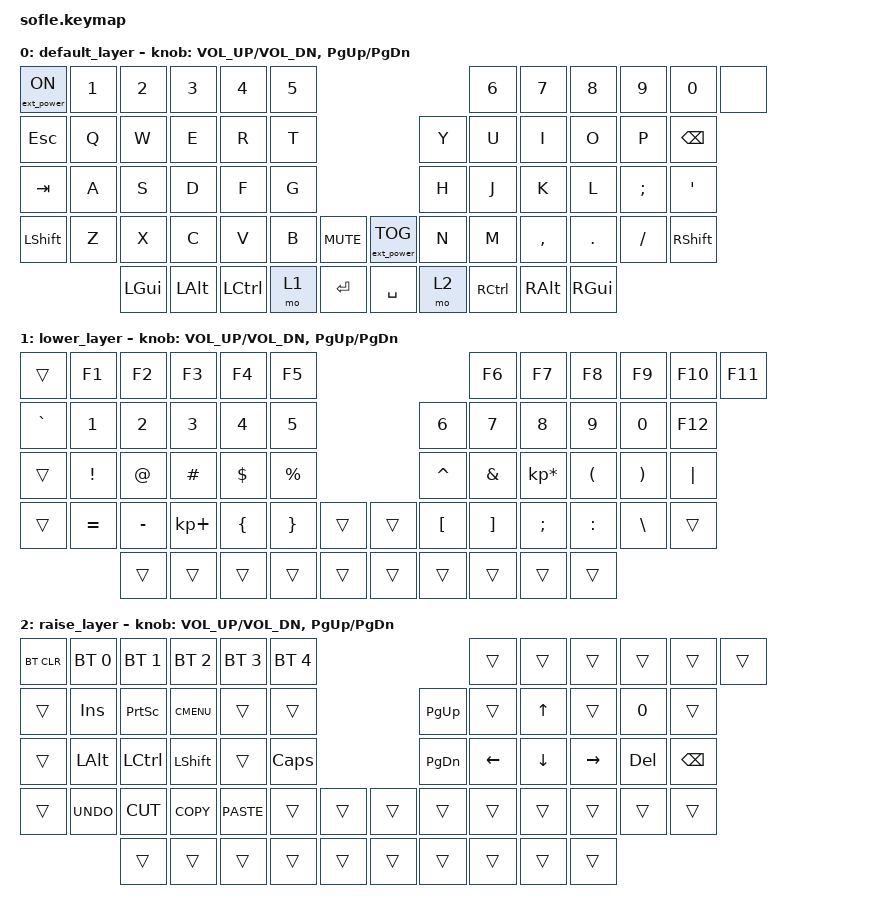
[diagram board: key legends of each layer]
/*
 * Copyright (c) 2020 The ZMK Contributors
 *
 * SPDX-License-Identifier: MIT
 */

#include <behaviors.dtsi>
#include <dt-bindings/zmk/keys.h>
#include <dt-bindings/zmk/bt.h>
#include <dt-bindings/zmk/ext_power.h>

/ {
    keymap {
        compatible = "zmk,keymap";

        default_layer {
// ------------------------------------------------------------------------------------------------------------
// |  `    |  1  |  2  |  3   |  4   |  5   |                         |  6   |  7    |  8    |  9   |   0   |       |
// |  ESC  |  Q  |  W  |  E   |  R   |  T   |                         |  Y   |  U    |  I    |  O   |   P   | BKSPC |
// |  TAB  |  A  |  S  |  D   |  F   |  G   |                         |  H   |  J    |  K    |  L   |   ;   |   '   |
// | SHIFT |  Z  |  X  |  C   |  V   |  B   |  MUTE  |        | ExtPw |  N   |  M    |  ,    |  .   |   /   | SHIFT |
//               | GUI | ALT  | CTRL | LOWER|  ENTER |        | SPACE | RAISE| CTRL  | ALT   | GUI  |
            bindings = <
&ext_power EP_ON &kp N1 &kp N2   &kp N3   &kp N4    &kp N5                              &kp N6 &kp N7    &kp N8    &kp N9   &kp N0   &none
&kp ESC   &kp Q  &kp W    &kp E    &kp R     &kp T                               &kp Y  &kp U     &kp I     &kp O    &kp P    &kp BSPC
&kp TAB   &kp A  &kp S    &kp D    &kp F     &kp G                               &kp H  &kp J     &kp K     &kp L    &kp SEMI &kp SQT
&kp LSHFT &kp Z  &kp X    &kp C    &kp V     &kp B  &kp C_MUTE &ext_power EP_TOG &kp N  &kp M     &kp COMMA &kp DOT  &kp FSLH &kp RSHFT
                 &kp LGUI &kp LALT &kp LCTRL &mo 1  &kp RET    &kp SPACE         &mo 2  &kp RCTRL &kp RALT  &kp RGUI
            >;

            sensor-bindings = <&inc_dec_kp C_VOL_UP C_VOL_DN &inc_dec_kp PG_UP PG_DN>;
        };

        lower_layer {
// TODO: Some binds are waiting for shifted keycode support.
// ------------------------------------------------------------------------------------------------------------
// |       |  F1 |  F2 |  F3  |  F4  |  F5  |                   |  F6  |  F7   |  F8   |  F9  |  F10  |  F11  |
// | `     |   1 |   2 |   3  |   4  |   5  |                   |   6  |   7   |   8   |   9  |    0  |  F12  |
// |       |  !  |  @  |  #   |  $   |  %   |                   |  ^   |  &    |  *    |  (   |   )   |   |   |
// |       |  =  |  -  |  +   |  {   |  }   |        |  |       |  [   |  ]    |  ;    |  :   |   \   |       |
//               |     |      |      |      |        |  |       |      |       |       |      |
            bindings = <
&trans    &kp F1    &kp F2    &kp F3      &kp F4    &kp F5                    &kp F6    &kp F7   &kp F8          &kp F9    &kp F10   &kp F11
&kp GRAVE &kp N1    &kp N2    &kp N3      &kp N4    &kp N5                    &kp N6    &kp N7   &kp N8          &kp N9    &kp N0    &kp F12
&trans    &kp EXCL  &kp AT    &kp HASH    &kp DLLR  &kp PRCNT                 &kp CARET &kp AMPS &kp KP_MULTIPLY &kp LPAR  &kp RPAR  &kp PIPE
&trans    &kp EQUAL &kp MINUS &kp KP_PLUS &kp LBRC  &kp RBRC  &trans   &trans &kp LBKT  &kp RBKT &kp SEMI        &kp COLON &kp BSLH  &trans
                    &trans    &trans      &trans    &trans    &trans   &trans &trans    &trans   &trans          &trans
            >;

            sensor-bindings = <&inc_dec_kp C_VOL_UP C_VOL_DN &inc_dec_kp PG_UP PG_DN>;
        };

        raise_layer {
// ------------------------------------------------------------------------------------------------------------
// |BTCLR| BT1  | BT2  |  BT3  |  BT4  |  BT5 |                |      |      |       |      |       |       |
// |     | INS  | PSCR | GUI   |       |      |                | PGUP |      |   ^   |      |       |       |
// |     | ALT  | CTRL | SHIFT |       | CAPS |                | PGDN |   <- |   v   |  ->  |  DEL  | BKSPC |
// |     | UNDO | CUT  | COPY  | PASTE |      |      |  |      |      |      |       |      |       |       |
//              |      |       |       |      |      |  |      |      |      |       |      |
            bindings = <
&bt BT_CLR &bt BT_SEL 0 &bt BT_SEL 1 &bt BT_SEL 2 &bt BT_SEL 3 &bt BT_SEL 4             &trans    &trans    &trans   &trans    &trans  &trans
&trans     &kp INS      &kp PSCRN    &kp K_CMENU  &trans       &trans                   &kp PG_UP &trans    &kp UP   &trans    &kp N0  &trans
&trans     &kp LALT     &kp LCTRL    &kp LSHFT    &trans       &kp CLCK                 &kp PG_DN &kp LEFT  &kp DOWN &kp RIGHT &kp DEL &kp BSPC
&trans     &kp K_UNDO   &kp K_CUT    &kp K_COPY   &kp K_PASTE  &trans  &trans   &trans  &trans    &trans    &trans   &trans    &trans  &trans
                        &trans       &trans       &trans       &trans  &trans   &trans  &trans    &trans    &trans   &trans
            >;

            sensor-bindings = <&inc_dec_kp C_VOL_UP C_VOL_DN &inc_dec_kp PG_UP PG_DN>;
        };
    };
};
